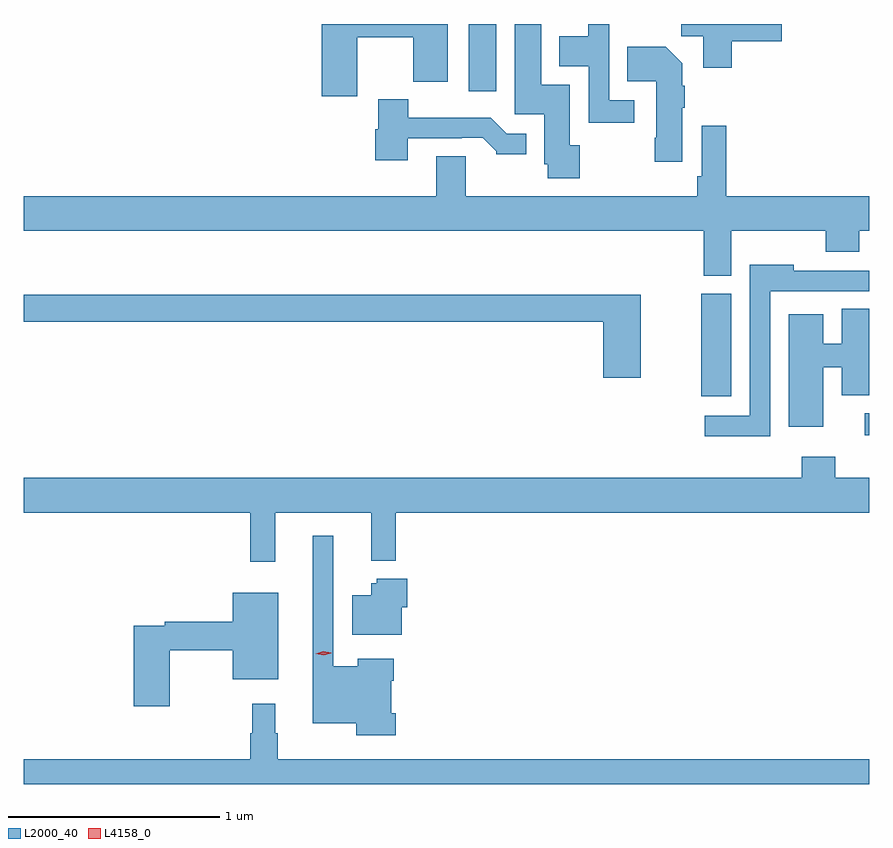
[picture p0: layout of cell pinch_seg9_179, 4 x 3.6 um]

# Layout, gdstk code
import gdstk
lib = gdstk.Library(unit=1e-6, precision=1e-09)
def R(c, l, rs):  # rectangles x0, y0, x1, y1
    for r in rs: c.add(gdstk.rectangle(r[:2], r[2:], *l))
def P(c, l, *ps):  # polygons
    for p in ps: c.add(gdstk.Polygon(p, *l))
L2000_40 = (2000, 40)
L4158_0 = (4158, 0)

pinch_seg9_179 = lib.new_cell('pinch_seg9_179')
R(pinch_seg9_179, L2000_40, [(834.123,1166.15,834.145,1166.254), (833.35,1166.334,833.491,1166.82), (832.25,1167.777,832.381,1168.095)])
P(pinch_seg9_179, L2000_40, [(833.032,1167.735),(832.914,1167.735),(832.914,1168.095),(832.816,1168.095),(832.816,1168.036),(832.679,1168.036),(832.679,1167.896),(832.818,1167.896),(832.818,1167.627),(833.032,1167.627)],
  [(831.724,1168.033),(831.988,1168.033),(831.988,1167.821),(832.15,1167.821),(832.15,1168.095),(831.554,1168.095),(831.554,1167.753),(831.724,1167.753)],
  [(832.776,1167.522),(832.729,1167.522),(832.729,1167.808),(832.594,1167.808),(832.594,1168.095),(832.469,1168.095),(832.469,1167.669),(832.607,1167.669),(832.607,1167.432),(832.624,1167.432),(832.624,1167.366),(832.776,1167.366)],
  [(833.495,1168.013),(833.731,1168.013),(833.731,1168.095),(833.255,1168.095),(833.255,1168.036),(833.36,1168.036),(833.36,1167.888),(833.495,1167.888)],
  [(833.26,1167.7),(833.273,1167.7),(833.273,1167.803),(833.26,1167.803),(833.26,1167.91),(833.182,1167.988),(832.999,1167.988),(832.999,1167.824),(833.138,1167.824),(833.138,1167.556),(833.131,1167.556),(833.131,1167.444),(833.26,1167.444)],
  [(831.961,1167.555),(832.217,1167.555),(832.217,1167.558),(832.316,1167.558),(832.38,1167.494),(832.38,1167.479),(832.522,1167.479),(832.522,1167.576),(832.431,1167.576),(832.355,1167.652),(831.964,1167.652),(831.964,1167.739),(831.821,1167.739),(831.821,1167.597),(831.809,1167.597),(831.809,1167.45),(831.961,1167.45)],
  [(833.363,1166.905),(833.491,1166.905),(833.491,1167.116),(833.938,1167.116),(833.938,1167.017),(834.098,1167.017),(834.098,1167.116),(834.145,1167.116),(834.145,1167.28),(833.468,1167.28),(833.468,1167.613),(833.352,1167.613),(833.352,1167.376),(833.332,1167.376),(833.332,1167.28),(832.237,1167.28),(832.237,1167.47),(832.097,1167.47),(832.097,1167.28),(830.145,1167.28),(830.145,1167.116),(833.363,1167.116)],
  [(833.676,1166.832),(834.145,1166.832),(834.145,1166.928),(833.787,1166.928),(833.787,1166.956),(833.58,1166.956),(833.58,1166.241),(833.367,1166.241),(833.367,1166.144),(833.676,1166.144)],
  [(833.064,1166.815),(830.145,1166.815),(830.145,1166.686),(832.886,1166.686),(832.886,1166.421),(833.064,1166.421)],
  [(833.926,1166.472),(834.014,1166.472),(834.014,1166.339),(834.145,1166.339),(834.145,1166.747),(834.014,1166.747),(834.014,1166.583),(833.926,1166.583),(833.926,1166.722),(833.765,1166.722),(833.765,1166.19),(833.926,1166.19)],
  [(831.335,1165.784),(831.788,1165.784),(831.788,1165.556),(831.905,1165.556),(831.905,1165.784),(834.145,1165.784),(834.145,1165.948),(833.985,1165.948),(833.985,1166.047),(833.825,1166.047),(833.825,1165.948),(830.145,1165.948),(830.145,1165.784),(831.217,1165.784),(831.217,1165.551),(831.335,1165.551)],
  [(831.905,1164.835),(831.883,1164.835),(831.883,1164.989),(831.896,1164.989),(831.896,1165.093),(831.725,1165.093),(831.725,1165.057),(831.609,1165.057),(831.609,1165.675),(831.512,1165.675),(831.512,1164.788),(831.718,1164.788),(831.718,1164.731),(831.905,1164.731)],
  [(831.934,1165.335),(831.959,1165.335),(831.959,1165.471),(831.816,1165.471),(831.816,1165.449),(831.788,1165.449),(831.788,1165.393),(831.698,1165.393),(831.698,1165.205),(831.934,1165.205)],
  [(830.836,1165.132),(831.134,1165.132),(831.134,1164.995),(831.349,1164.995),(831.349,1165.405),(831.134,1165.405),(831.134,1165.268),(830.812,1165.268),(830.812,1165.248),(830.666,1165.248),(830.666,1164.867),(830.836,1164.867)],
  [(831.225,1164.88),(831.225,1164.74),(831.217,1164.74),(831.217,1164.616),(830.145,1164.616),(830.145,1164.5),(834.145,1164.5),(834.145,1164.616),(831.346,1164.616),(831.346,1164.74),(831.334,1164.74),(831.334,1164.88)])
P(pinch_seg9_179, L4158_0, [(831.564,1165.108),(831.527,1165.116),(831.527,1165.116),(831.527,1165.116),(831.562,1165.128),(831.599,1165.12),(831.599,1165.12),(831.599,1165.119)])

lib.write_gds('pinch_seg9_179.gds')
